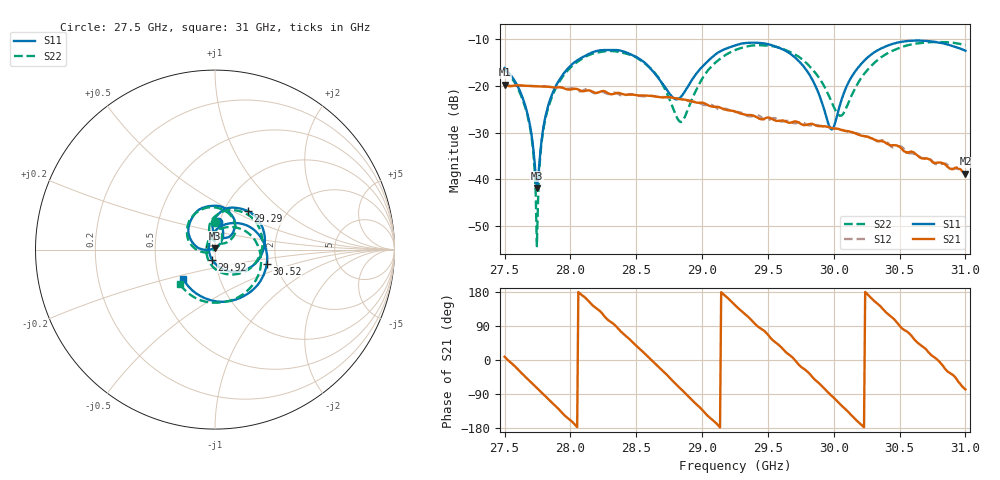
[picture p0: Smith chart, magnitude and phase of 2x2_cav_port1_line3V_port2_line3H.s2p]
!Created with skrf (http://scikit-rf.org).
# GHz S RI R 50.0
!freq ReS11 ImS11 ReS21 ImS21 ReS12 ImS12 ReS22 ImS22
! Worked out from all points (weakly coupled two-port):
!   401 points, 27.5 GHz to 31 GHz, reference 50 ohm
!   highest |S21| = -19.70 dB at 27.5 GHz (marker M1); lowest = -38.8 dB at 31 GHz (marker M2)
!   lowest |S11| = -41.9 dB at 27.75 GHz (marker M3), VSWR 1.02, Z = 49.7 + j0.757 ohm
!   |S11| at or under -10 dB: start of sweep to end of sweep
!   |S22| runs from -54.3 to -10.6 dB; largest |S21 - S12| = 0.0042
!   S11 on the Smith chart (normalised r, x): 27.5 GHz: 0.99, +0.31; 29.29 GHz: 1.29, +0.60; 29.92 GHz: 0.96, -0.11; 30.52 GHz: 1.78, -0.31; 31 GHz: 0.67, -0.23
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27.5  0.0193 0.1551  0.1024 0.0154  0.1026 0.017  0.00275 0.1512
27.66625  0.034 0.0435  0.0683 -0.0738  0.0683 -0.0733  0.0325 0.0422
27.745  -0.00268 0.00762  0.0279 -0.0956  0.028 -0.0956  -0.000502 0.00185
27.78875  -0.0318 -0.000399  0.00269 -0.0986  0.00293 -0.0992  -0.0283 -0.0108
27.84125  -0.0689 0.000923  -0.0277 -0.0942  -0.0282 -0.094  -0.0634 -0.0146
28.08625  -0.1425 0.1431  -0.0874 0.0133  -0.0877 0.0105  -0.1548 0.1203
28.3925  0.0498 0.2324  0.0254 0.0785  0.0238 0.0752  0.0334 0.226
28.6725  0.0898 0.0794  0.0718 -0.0255  0.0727 -0.0249  0.0993 0.0687
28.83875  0.00948 0.076  0.017 -0.07  0.0172 -0.0712  0.014 0.0386
29.04  0.00533 0.1828  -0.0525 -0.0348  -0.0507 -0.037  -0.029 0.1421
29.25  0.1537 0.2251  -0.0435 0.0307  -0.0436 0.0295  0.1023 0.2206
29.285  0.1839 0.2142  -0.035 0.0373  -0.0365 0.0376  0.1331 0.2151
29.6175  0.2377 -0.0635  0.0379 0.0197  0.0366 0.0199  0.2448 -0.0423
29.83625  0.0441 -0.1095  0.0282 -0.0275  0.0277 -0.0261  0.067 -0.1368
29.92375  -0.0169 -0.0559  0.0104 -0.0355  0.01 -0.0353  -0.00636 -0.1018
29.985  -0.0341 -0.00196  -0.00307 -0.0353  -0.00307 -0.0355  -0.0383 -0.0551
30.055  -0.0235 0.064  -0.0164 -0.0297  -0.0163 -0.0298  -0.0474 0.00822
30.195  0.0765 0.1453  -0.0291 -0.00703  -0.0297 -0.007  0.0231 0.1117
30.4225  0.2737 0.0336  -0.0112 0.0206  -0.01 0.0211  0.2254 0.048
30.51875  0.2886 -0.0784  0.00241 0.021  0.00198 0.0221  0.2567 -0.0572
30.7725  0.0751 -0.2878  0.0149 0.00124  0.0145 0.000875  0.0733 -0.2871
31  -0.1766 -0.1622  0.00246 -0.0112  0.00276 -0.0113  -0.1963 -0.1932
